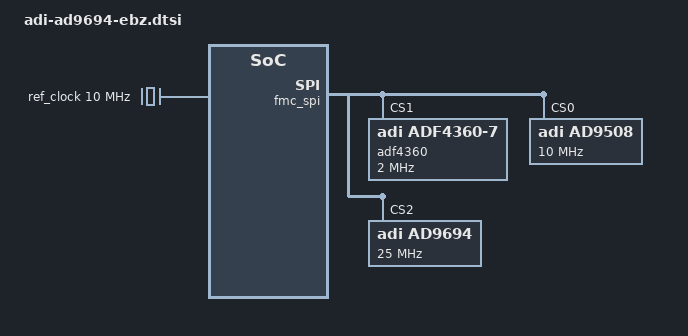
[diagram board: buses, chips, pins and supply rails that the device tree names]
#include <dt-bindings/iio/frequency/ad9508.h>

/ {
	clocks {
		ref_clock: clock@0 {
			#clock-cells = <0>;
			compatible = "fixed-clock";
			clock-frequency = <10000000>;
			clock-output-names = "10M-TXCO";
		};
	};
};

&fmc_spi {

	adf4360: pll@0 {
		compatible = "adi,adf4360-7";
		reg = <1>;
		spi-max-frequency = <2000000>;

		#clock-cells = <0>;

		clocks = <&ref_clock>;
		clock-output-names = "adf4360-7";

		adi,loop-filter-charge-pump-current = <5>;
		adi,loop-filter-pfd-frequency-hz = <2500000>;

		assigned-clocks = <&adf4360>;
		assigned-clock-rates = <750000000>;
//		assigned-clock-rates = <1000000000>;
	};

	ad9508: ad9508@3 {
		#address-cells = <1>;
		#size-cells = <0>;
		#clock-cells = <1>;
		compatible = "adi,ad9508";
		reg = <0>;
		spi-cpol;
		spi-cpha;

		clocks = <&adf4360>;

		spi-max-frequency = <10000000>;
		clock-output-names = "ad9508-out0", "ad9508-out1", "ad9508-out2", "ad9508-out3";

		ad9508_0_c0:channel@0 {
			reg = <0>;
			adi,extended-name = "ADC_CLK";
			adi,driver-mode = <(DRIVER_PHASE_NORMAL | DRIVER_MODE_HSTL)>;
			adi,divider-phase = <0>;
			adi,channel-divider = <1>;
		};

		ad9508_0_c1:channel@1 {
			reg = <1>;
			adi,extended-name = "ADC_SYSREF";
			adi,driver-mode = <(DRIVER_PHASE_NORMAL | DRIVER_MODE_HSTL)>;
			adi,divider-phase = <0>;
			adi,channel-divider = <128>;
		};

		ad9508_0_c2:channel@2 {
			reg = <2>;
			adi,extended-name = "FPGA_REF_CLK";
			adi,driver-mode = <(DRIVER_PHASE_NORMAL | DRIVER_MODE_HSTL)>;
			adi,divider-phase = <0>;
			adi,channel-divider = <4>;
		};

		ad9508_0_c3:channel@3 {
			reg = <3>;
			adi,extended-name = "FPGA_GLOBAL_CLK";
			adi,driver-mode = <(DRIVER_PHASE_NORMAL | DRIVER_MODE_HSTL)>;
			adi,divider-phase = <0>;
			adi,channel-divider = <4>;
		};

	};

	ad9694: ad9694@1 {
		#address-cells = <1>;
		#size-cells = <0>;
		#clock-cells = <1>;
		compatible = "adi,ad9694";

		/* SPI Setup */
		reg = <2>;
		spi-max-frequency = <25000000>;

		/* Clocks */
		clocks = <&axi_ad9694_rx_jesd>, <&ad9508 0>, <&ad9508 1>;
		clock-names = "jesd_adc_clk", "adc_clk", "adc_sysref";
	};
};
